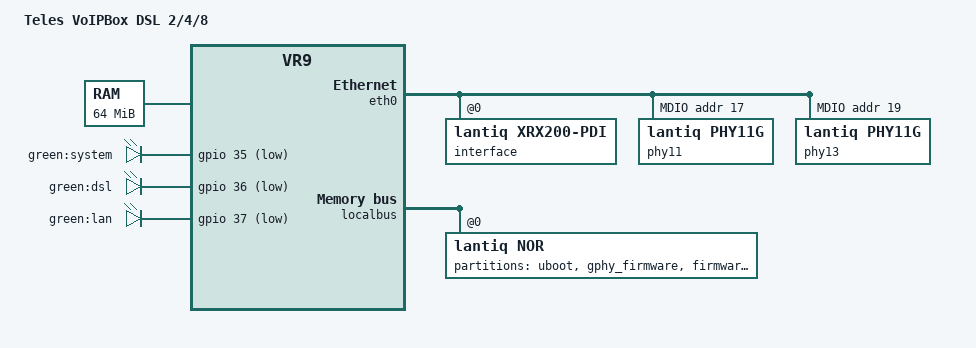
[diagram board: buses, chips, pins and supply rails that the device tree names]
#include "vr9.dtsi"

#include <dt-bindings/input/input.h>
#include <dt-bindings/mips/lantiq_rcu_gphy.h>

/ {
	compatible = "teles,voipbox-dsl-bri", "lantiq,xway", "lantiq,vr9";
	model = "Teles VoIPBox DSL 2/4/8";

	chosen {
		bootargs = "console=ttyLTQ0,115200";
	};

	aliases {
		led-boot = &system;
		led-failsafe = &system;
		led-running = &system;
		led-upgrade = &system;

		led-dsl = &dsl;
		led-lan = &lan;
	};

	memory@0 {
		device_type = "memory";
		reg = <0x0 0x4000000>;
	};

	leds {
		compatible = "gpio-leds";

                system: system {
                        label = "green:system";
                        gpios = <&gpio 35 GPIO_ACTIVE_LOW>;
                };

                dsl: dsl {
                        label = "green:dsl";
                        gpios = <&gpio 36 GPIO_ACTIVE_LOW>;
                };

                lan: lan {
                        label = "green:lan";
                        gpios = <&gpio 37 GPIO_ACTIVE_LOW>;
                };
	};
};

&eth0 {
	pinctrl-0 = <&mdio_pins>,
		<&gphy0_led0_pins>, <&gphy0_led1_pins>, <&gphy0_led2_pins>,
		<&gphy1_led0_pins>, <&gphy1_led1_pins>, <&gphy1_led2_pins>;

	interface@0 {
		compatible = "lantiq,xrx200-pdi";
		#address-cells = <1>;
		#size-cells = <0>;
		reg = <0>;
		lantiq,switch;

		ethernet@2 {
			compatible = "lantiq,xrx200-pdi-port";
			reg = <2>;
			phy-mode = "gmii";
			phy-handle = <&phy11>;
		};

		ethernet@4 {
			compatible = "lantiq,xrx200-pdi-port";
			reg = <4>;
			phy-mode = "gmii";
			phy-handle = <&phy13>;
		};
	};

	mdio@0 {
		#address-cells = <1>;
		#size-cells = <0>;
		compatible = "lantiq,xrx200-mdio";

		/* https://lwn.net/Articles/688391/ */
		/* led0 left red - led1 left green - led2 right amber */
		/* Left LED: Red on - 1000 Mbps; Green on - 100 Mbps; off - 10 Mbps */
		/* Right LED: Amber on - link established; Amber blinking - Activity; off - no link established */
                phy11: ethernet-phy@11 {
                        reg = <0x11>;
                        compatible = "lantiq,phy11g", "ethernet-phy-ieee802.3-c22";
			lantiq,led0h = <0x40>;
                        lantiq,led0l = <0x00>;
                        lantiq,led1h = <0x20>;
                        lantiq,led1l = <0x00>;
                        lantiq,led2h = <0x70>;
                        lantiq,led2l = <0x03>;
                };
                phy13: ethernet-phy@13 {
                        reg = <0x13>;
                        compatible = "lantiq,phy11g", "ethernet-phy-ieee802.3-c22";
			lantiq,led0h = <0x40>;
                        lantiq,led0l = <0x00>;
                        lantiq,led1h = <0x20>;
                        lantiq,led1l = <0x00>;
                        lantiq,led2h = <0x70>;
                        lantiq,led2l = <0x03>;
                };
	};
};

&gphy0 {
	lantiq,gphy-mode = <GPHY_MODE_GE>;
};

&gphy1 {
	lantiq,gphy-mode = <GPHY_MODE_GE>;
};

&localbus {
	nor@0 {
		compatible = "lantiq,nor";
		bank-width = <2>;
		reg = <0 0x0 0x2000000>;
		#address-cells = <1>;
		#size-cells = <1>;

		/* https://forum.openwrt.org/t/adding-openwrt-support-for-teles-voipbox-dsl-lantiq-vr9/93010/8?u=breti */
		partitions {
			compatible = "fixed-partitions";
			#address-cells = <1>;
			#size-cells = <1>;

			partition@0 {
				label = "uboot";
				reg = <0x0 0x20000>; /* 128 kB */
				read-only;
			};

			partition@20000 {
				label = "gphy_firmware";
				reg = <0x20000 0x20000>; /* 128 kB */
				read-only;
			};

			partition@40000 {
				label = "firmware";
				reg = <0x40000 0x100000>; /* 1 MB */
				read-only;
			};

			partition@140000 {
				label = "kernel";
				reg = <0x140000 0x680000>; /* 6.8 MB */
			};

			partition@7c0000 {
				label = "sysconfig";
				reg = <0x7c0000 0x20000>; /* 128 kB */
				read-only;
			};

			partition@7e0000 {
				label = "ubootconfig";
				reg = <0x7e0000 0x20000>; /* 128 kB */
				read-only;
			};
			partition@800000 {
				label = "ubi";
				reg = <0x800000 0x1800000>; /* 25 MB */
			};
		};
	};
};

&pcie0 {
        status = "disabled";
};

